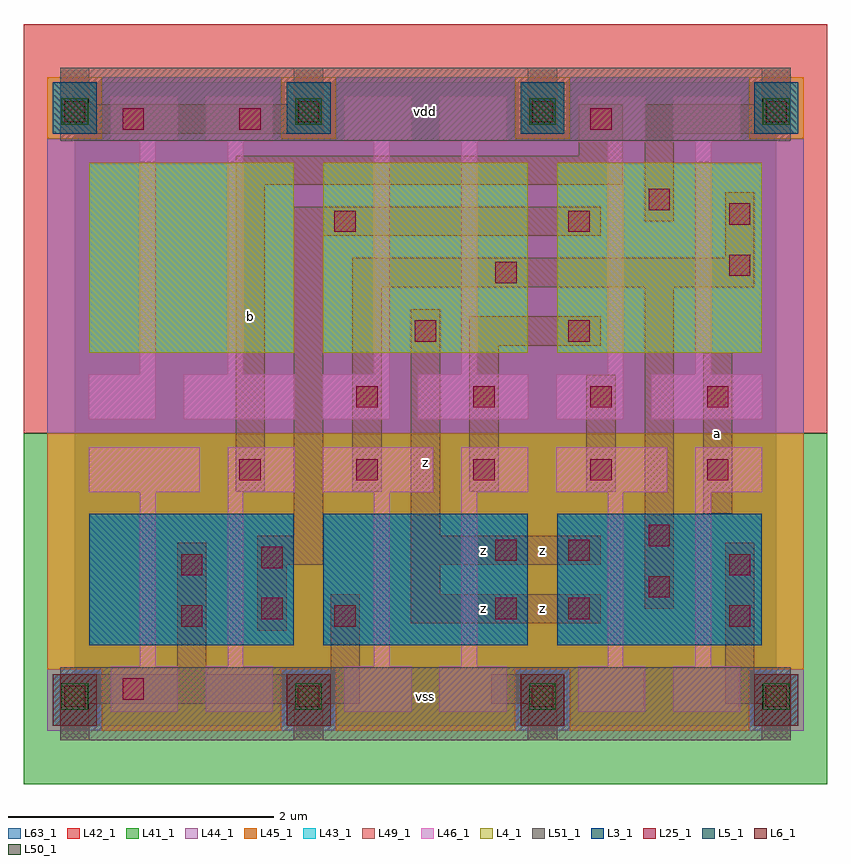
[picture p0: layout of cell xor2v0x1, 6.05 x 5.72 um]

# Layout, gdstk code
import gdstk
lib = gdstk.Library(unit=1e-6, precision=1e-09)
def R(c, l, rs):  # rectangles x0, y0, x1, y1
    for r in rs: c.add(gdstk.rectangle(r[:2], r[2:], *l))
def A(c, l, x, y, w, h, nx, ny, dx, dy):  # array of equal rectangles
    R(c, l, [(x+i*dx, y+j*dy, x+i*dx+w, y+j*dy+h) for i in range(nx) for j in range(ny)])
L3_1 = (3, 1)
L4_1 = (4, 1)
L5_1 = (5, 1)
L6_1 = (6, 1)
L25_1 = (25, 1)
L41_1 = (41, 1)
L42_1 = (42, 1)
L43_1 = (43, 1)
L44_1 = (44, 1)
L45_1 = (45, 1)
L46_1 = (46, 1)
L49_1 = (49, 1)
L50_1 = (50, 1)
L51_1 = (51, 1)
L63_1 = (63, 1)

xor2v0x1 = lib.new_cell('xor2v0x1')
A(xor2v0x1, L3_1, 0.11, 0.605, 1.54, 0.99, 3, 1, 1.76, 0)
A(xor2v0x1, L4_1, 0.11, 2.805, 1.54, 1.43, 3, 1, 1.76, 0)
A(xor2v0x1, L5_1, -0.165, 4.455, 0.33, 0.385, 4, 1, 1.76, 0)
A(xor2v0x1, L6_1, -0.165, 0, 0.33, 0.385, 4, 1, 1.76, 0)
A(xor2v0x1, L25_1, -0.08, 0.14, 0.16, 0.16, 4, 2, 1.76, 4.4)
A(xor2v0x1, L25_1, 1.24, 1.845, 0.16, 0.16, 5, 1, 0.88, 0)
A(xor2v0x1, L25_1, 2.12, 2.395, 0.16, 0.16, 4, 1, 0.88, 0)
R(xor2v0x1, L25_1, [(0.36,0.195,0.52,0.355), (0.8,0.745,0.96,0.905), (1.955,0.745,2.115,0.905), (4.925,0.745,5.085,0.905), (1.405,0.8,1.565,0.96), (3.165,0.8,3.325,0.96), (3.715,0.8,3.875,0.96), (4.32,0.965,4.48,1.125), (0.8,1.13,0.96,1.29), (4.925,1.13,5.085,1.29), (1.405,1.185,1.565,1.345), (3.165,1.24,3.325,1.4), (3.715,1.24,3.875,1.4), (4.32,1.35,4.48,1.51), (2.56,2.89,2.72,3.05), (3.715,2.89,3.875,3.05), (3.165,3.33,3.325,3.49), (4.925,3.385,5.085,3.545), (1.955,3.715,2.115,3.875), (3.715,3.715,3.875,3.875), (4.925,3.77,5.085,3.93), (4.32,3.88,4.48,4.04), (0.36,4.485,0.52,4.645), (1.24,4.485,1.4,4.645), (3.88,4.485,4.04,4.645)])
R(xor2v0x1, L41_1, [(-0.385,-0.44,5.665,2.2)])
R(xor2v0x1, L42_1, [(-0.385,2.2,5.665,5.28)])
A(xor2v0x1, L43_1, -0.165, 0, 0.33, 0.385, 4, 2, 1.76, 4.455)
A(xor2v0x1, L43_1, 0.11, 0.605, 1.54, 0.99, 3, 1, 1.76, 0)
A(xor2v0x1, L43_1, 0.11, 2.805, 1.54, 1.43, 3, 1, 1.76, 0)
A(xor2v0x1, L44_1, -0.205, -0.04, 0.41, 0.465, 4, 1, 1.76, 0)
A(xor2v0x1, L44_1, 0.205, 4.415, 1.35, 0.465, 3, 1, 1.76, 0)
R(xor2v0x1, L44_1, [(-0.205,2.2,5.485,4.415)])
A(xor2v0x1, L45_1, 0.205, -0.04, 1.35, 0.465, 3, 1, 1.76, 0)
A(xor2v0x1, L45_1, -0.205, 4.415, 0.41, 0.465, 4, 1, 1.76, 0)
R(xor2v0x1, L45_1, [(-0.205,0.425,5.485,2.2)])
A(xor2v0x1, L46_1, 0.105, 1.755, 0.835, 0.34, 3, 1, 1.76, 0)
A(xor2v0x1, L46_1, 1.15, 1.755, 0.505, 0.34, 3, 1, 1.76, 0)
A(xor2v0x1, L46_1, 0.105, 2.305, 0.505, 0.34, 3, 1, 1.76, 0)
A(xor2v0x1, L46_1, 0.82, 2.305, 0.835, 0.34, 3, 1, 1.76, 0)
R(xor2v0x1, L46_1, [(0.27,0.105,0.775,0.445), (0.985,0.105,1.49,0.445), (2.03,0.105,2.535,0.445), (2.745,0.105,3.25,0.445), (3.79,0.105,4.295,0.445), (4.505,0.105,5.01,0.445), (0.49,0.445,0.61,1.755), (1.15,0.445,1.27,1.755), (2.25,0.445,2.37,1.755), (2.91,0.445,3.03,1.755), (4.01,0.445,4.13,1.755), (4.67,0.445,4.79,1.755), (0.49,2.645,0.61,4.395), (1.15,2.645,1.27,4.395), (2.25,2.645,2.37,4.395), (2.91,2.645,3.03,4.395), (4.01,2.645,4.13,4.395), (4.67,2.645,4.79,4.395), (0.27,4.395,0.775,4.735), (0.985,4.395,1.49,4.735), (2.03,4.395,2.535,4.735), (2.745,4.395,3.25,4.735), (3.79,4.395,4.295,4.735), (4.505,4.395,5.01,4.735)])
A(xor2v0x1, L49_1, -0.11, -0.11, 0.22, 0.275, 4, 1, 1.76, 0)
R(xor2v0x1, L49_1, [(-0.11,0.165,2.145,0.385), (3.135,0.165,3.63,0.385), (4.895,0.165,5.39,0.385), (0.77,0.385,0.99,1.375), (1.925,0.385,2.145,0.99), (4.895,0.385,5.115,1.375), (1.375,0.715,1.595,1.21), (2.53,0.77,3.96,0.99), (4.29,0.88,4.51,3.3), (2.53,0.99,2.75,1.21), (1.375,1.21,1.87,1.43), (2.53,1.21,3.96,1.43), (1.65,1.43,1.87,3.685), (2.53,1.43,2.75,3.135), (4.73,1.595,4.95,2.805), (1.21,1.76,1.43,4.07), (2.09,1.76,2.31,3.3), (2.97,1.76,3.19,2.86), (3.85,1.76,4.07,2.64), (2.97,2.86,3.96,3.08), (2.09,3.3,5.115,3.52), (4.895,3.52,5.115,4.015), (1.65,3.685,3.96,3.905), (4.29,3.795,4.51,4.455), (1.21,4.07,4.125,4.29), (3.795,4.29,4.125,4.675), (-0.11,4.455,1.87,4.675), (3.41,4.455,3.63,4.95), (4.29,4.455,5.39,4.675), (-0.11,4.675,0.11,4.95), (1.65,4.675,1.87,4.95), (5.17,4.675,5.39,4.95)])
A(xor2v0x1, L50_1, -0.1, 0.12, 0.2, 0.2, 4, 2, 1.76, 4.4)
R(xor2v0x1, L51_1, [(-0.11,-0.11,5.39,0.44), (-0.11,4.4,5.39,4.95)])
R(xor2v0x1, L63_1, [(0,0,5.28,4.84)])
xor2v0x1.add(gdstk.Label('b', (1.32,3.08), layer=49, texttype=1))
xor2v0x1.add(gdstk.Label('z', (3.08,0.88), layer=49, texttype=1))
xor2v0x1.add(gdstk.Label('z', (3.08,1.32), layer=49, texttype=1))
xor2v0x1.add(gdstk.Label('z', (2.64,1.98), layer=49, texttype=1))
xor2v0x1.add(gdstk.Label('z', (3.52,0.88), layer=49, texttype=1))
xor2v0x1.add(gdstk.Label('z', (3.52,1.32), layer=49, texttype=1))
xor2v0x1.add(gdstk.Label('a', (4.84,2.2), layer=49, texttype=1))
xor2v0x1.add(gdstk.Label('vss', (2.64,0.22), layer=51, texttype=1))
xor2v0x1.add(gdstk.Label('vdd', (2.64,4.62), layer=51, texttype=1))

lib.write_gds('xor2v0x1.gds')
